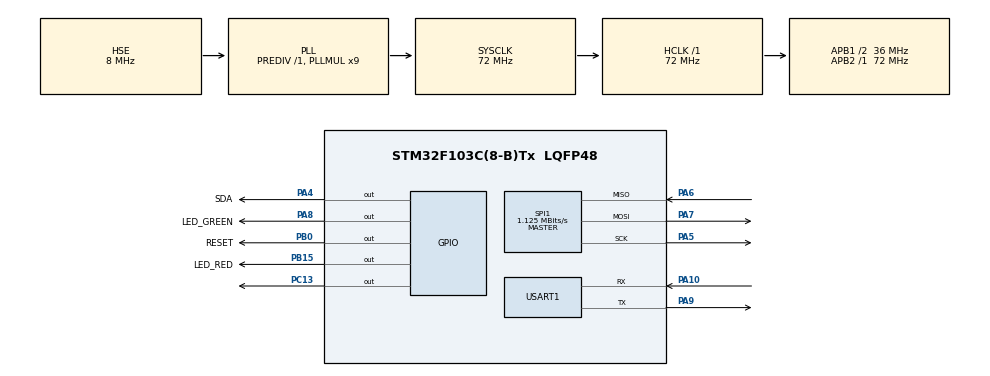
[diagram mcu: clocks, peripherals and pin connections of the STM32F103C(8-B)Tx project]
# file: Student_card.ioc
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Mcu.Family=STM32F1
Mcu.Name=STM32F103C(8-B)Tx
Mcu.Package=LQFP48
NVIC.PriorityGroup=NVIC_PRIORITYGROUP_4
NVIC.TIM2_IRQn=true\:15\:0\:false\:false\:true\:true\:true\:true
PA10.Mode=Asynchronous
PA10.Signal=USART1_RX
PA13.Mode=Serial_Wire
PA13.Signal=SYS_JTMS-SWDIO
PA14.Mode=Serial_Wire
PA14.Signal=SYS_JTCK-SWCLK
PA4.GPIO_Label=SDA
PA4.Signal=GPIO_Output
PA5.Mode=Full_Duplex_Master
PA5.Signal=SPI1_SCK
PA6.Mode=Full_Duplex_Master
PA6.Signal=SPI1_MISO
PA7.Mode=Full_Duplex_Master
PA7.Signal=SPI1_MOSI
PA8.GPIO_Label=LED_GREEN
PA8.Signal=GPIO_Output
PA9.Mode=Asynchronous
PA9.Signal=USART1_TX
PB0.GPIO_Label=RESET
PB0.Signal=GPIO_Output
PB15.GPIO_Label=LED_RED
PB15.Signal=GPIO_Output
PC13-TAMPER-RTC.GPIO_Speed=GPIO_SPEED_FREQ_HIGH
PC13-TAMPER-RTC.Signal=GPIO_Output
PD0-OSC_IN.Mode=HSE-External-Oscillator
PD0-OSC_IN.Signal=RCC_OSC_IN
PD1-OSC_OUT.Mode=HSE-External-Oscillator
PD1-OSC_OUT.Signal=RCC_OSC_OUT
ProjectManager.HeapSize=0x200
ProjectManager.StackSize=0x400
ProjectManager.TargetToolchain=STM32CubeIDE
RCC.AHBFreq_Value=72000000
RCC.APB1CLKDivider=RCC_HCLK_DIV2
RCC.APB1Freq_Value=36000000
RCC.APB1TimFreq_Value=72000000
RCC.APB2Freq_Value=72000000
RCC.APB2TimFreq_Value=72000000
RCC.HCLKFreq_Value=72000000
RCC.PLLMUL=RCC_PLL_MUL9
RCC.PLLSourceVirtual=RCC_PLLSOURCE_HSE
RCC.SYSCLKFreq_VALUE=72000000
RCC.SYSCLKSource=RCC_SYSCLKSOURCE_PLLCLK
RCC.USBFreq_Value=72000000
SPI1.BaudRatePrescaler=SPI_BAUDRATEPRESCALER_64
SPI1.CalculateBaudRate=1.125 MBits/s
SPI1.Direction=SPI_DIRECTION_2LINES
SPI1.Mode=SPI_MODE_MASTER
SPI1.VirtualType=VM_MASTER
TIM2.Period=999
TIM2.Prescaler=71
USART1.VirtualMode=VM_ASYNC
VP_TIM2_VS_ClockSourceINT.Mode=Internal
board=custom

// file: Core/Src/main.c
/* USER CODE BEGIN Header */
/**
  ******************************************************************************
  * @file           : main.c
  * @brief          : Main program body - Tich hop RC522 High Level
  ******************************************************************************
  */
/* USER CODE END Header */
#include "main.h"
#include "spi.h"
#include "tim.h"
#include "usart.h"
#include "gpio.h"

/* USER CODE BEGIN Includes */
#include <stdio.h> // Thu vien cho printf
#include "Timer.h"
#include "MFRC522_STM32.h" // Thu vien ban dang dung
/* USER CODE END Includes */

/* USER CODE BEGIN PV */
extern timer_Objt Tim_1ms[MaxTIMER];

// --- KHAI BAO CHO RC522 ---
uint8_t uid[4]; // Mang luu ID the doc duoc

// Cau hinh struct dua tren so do chan (Pinout) trong anh ban gui:
// SPI: hspi1
// CS (SDA): PA4
// RESET: PB0
MFRC522_t rfID = {&hspi1, GPIOA, GPIO_PIN_4, GPIOB, GPIO_PIN_0};

/* USER CODE END PV */

void SystemClock_Config(void);

/* USER CODE BEGIN 0 */

// Ham nay giup printf() day du lieu ra cong UART1
int _write(int fd, unsigned char *buf, int len) {
  if (fd == 1 || fd == 2) {
    HAL_UART_Transmit(&huart1, buf, len, 1000);
  }
  return len;
}

/* USER CODE END 0 */

int main(void)
{

  /* MCU Configuration--------------------------------------------------------*/

  /* Reset of all peripherals, Initializes the Flash interface and the Systick. */
  HAL_Init();

  /* Configure the system clock */
  SystemClock_Config();

  /* Initialize all configured peripherals */
  MX_GPIO_Init();
  MX_TIM2_Init();
  MX_SPI1_Init();
  MX_USART1_UART_Init();
  /* USER CODE BEGIN 2 */

  // Khoi dong Timer ngat (cho logic cu cua ban)
  HAL_TIM_Base_Start_IT(&htim2);
  startTim(&Tim_1ms[0], 1000);

  // --- KHOI TAO RC522 ---
  // Truyen dia chi bien struct da khai bao o tren
  MFRC522_Init(&rfID);

  printf("System Init Done. Waiting for Card...\n");

  /* USER CODE END 2 */

  /* Infinite loop */
  /* USER CODE BEGIN WHILE */
  while (1)
  {
    // --- LOGIC 1: QUET THE RFID (High Level) ---
    // 1. Cho den khi co the quet
    if (waitcardDetect(&rfID) == STATUS_OK) {

      // 2. Doc UID cua the
      if (MFRC522_ReadUid(&rfID, uid) == STATUS_OK) {

        // In ID ra man hinh Serial
        printf("CARD ID: %02X %02X %02X %02X\n", uid[0], uid[1], uid[2], uid[3]);

        // Vi du 1: The Master -> Bat den Xanh (PA8)
        if ((uid[0] == 0x20) && (uid[1] == 0x00) && (uid[2] == 0x01) && (uid[3] == 0xE4)) {
            printf("Access Granted - GREEN LED ON\n");
            HAL_GPIO_WritePin(GPIOA, GPIO_PIN_8, GPIO_PIN_SET);   // Bat LED PA8
            HAL_Delay(1000);
            HAL_GPIO_WritePin(GPIOA, GPIO_PIN_8, GPIO_PIN_RESET); // Tat LED PA8
        }
        // Vi du 2: The khac -> Bat den Do (PB15)
        else if ((uid[0] == 0x1D) && (uid[1] == 0x7D) && (uid[2] == 0xCD) && (uid[3] == 0x73)) {
            printf("Access Denied - RED LED ON\n");
            HAL_GPIO_WritePin(GPIOB, GPIO_PIN_15, GPIO_PIN_SET);  // Bat LED PB15
            HAL_Delay(1000);
            HAL_GPIO_WritePin(GPIOB, GPIO_PIN_15, GPIO_PIN_RESET);// Tat LED PB15
        }
        else {
            // The la -> Nhay den PC13 (Onboard)
            HAL_GPIO_TogglePin(GPIOC, GPIO_PIN_13);
            HAL_Delay(200);
            HAL_GPIO_TogglePin(GPIOC, GPIO_PIN_13);
        }
      }

      // 4. Doi nhat the ra moi tiep tuc
      waitcardRemoval(&rfID);
    }

    // --- LOGIC 2: TIMER CUA BAN ---
    scanTimer();
    if(Tim_1ms[0].En && Tim_1ms[0].Output){
        Tim_1ms[0].Output = 0;
        // Chi blink LED PC13 neu khong dang xu ly the
        // HAL_GPIO_TogglePin(GPIOC, GPIO_PIN_13);
    }
    /* USER CODE END WHILE */

  }
}

void SystemClock_Config(void)
{
  RCC_OscInitTypeDef RCC_OscInitStruct = {0};
  RCC_ClkInitTypeDef RCC_ClkInitStruct = {0};

  /** Initializes the RCC Oscillators according to the specified parameters
  * in the RCC_OscInitTypeDef structure.
  */
  RCC_OscInitStruct.OscillatorType = RCC_OSCILLATORTYPE_HSE;
  RCC_OscInitStruct.HSEState = RCC_HSE_ON;
  RCC_OscInitStruct.HSEPredivValue = RCC_HSE_PREDIV_DIV1;
  RCC_OscInitStruct.HSIState = RCC_HSI_ON;
  RCC_OscInitStruct.PLL.PLLState = RCC_PLL_ON;
  RCC_OscInitStruct.PLL.PLLSource = RCC_PLLSOURCE_HSE;
  RCC_OscInitStruct.PLL.PLLMUL = RCC_PLL_MUL9;
  if (HAL_RCC_OscConfig(&RCC_OscInitStruct) != HAL_OK)
  {
    Error_Handler();
  }

  /** Initializes the CPU, AHB and APB buses clocks
  */
  RCC_ClkInitStruct.ClockType = RCC_CLOCKTYPE_HCLK|RCC_CLOCKTYPE_SYSCLK
                              |RCC_CLOCKTYPE_PCLK1|RCC_CLOCKTYPE_PCLK2;
  RCC_ClkInitStruct.SYSCLKSource = RCC_SYSCLKSOURCE_PLLCLK;
  RCC_ClkInitStruct.AHBCLKDivider = RCC_SYSCLK_DIV1;
  RCC_ClkInitStruct.APB1CLKDivider = RCC_HCLK_DIV2;
  RCC_ClkInitStruct.APB2CLKDivider = RCC_HCLK_DIV1;

  if (HAL_RCC_ClockConfig(&RCC_ClkInitStruct, FLASH_LATENCY_2) != HAL_OK)
  {
    Error_Handler();
  }
}

void Error_Handler(void)
{
  __disable_irq();
  while (1)
  {
  }
}
